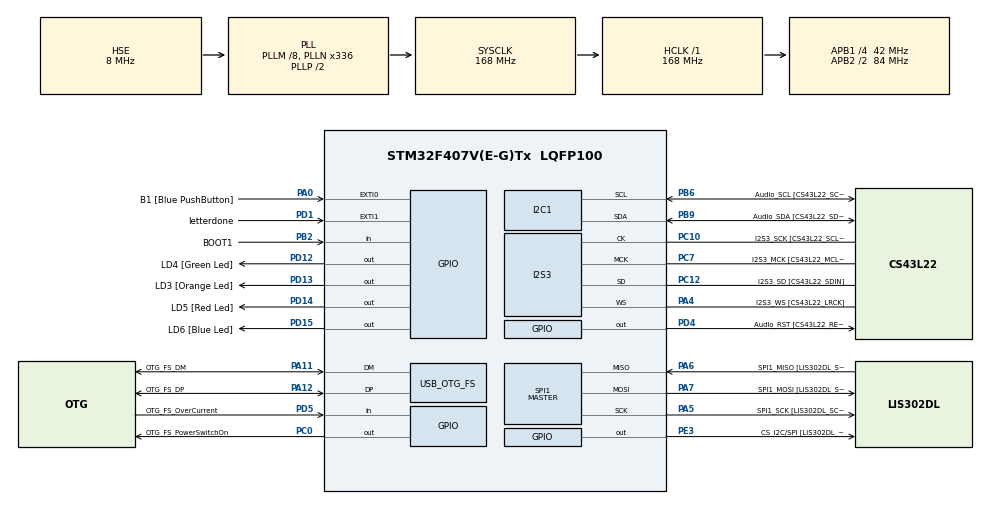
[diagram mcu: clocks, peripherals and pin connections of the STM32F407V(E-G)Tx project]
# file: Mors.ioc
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I2S3.AudioFreq-Half_Duplex_Master=I2S_AUDIOFREQ_96K
I2S3.ErrorAudioFreq=-2.34 %
I2S3.ErrorAudioFreq-Half_Duplex_Master=0.8 %
I2S3.FullDuplexMode=I2S_FULLDUPLEXMODE_DISABLE
I2S3.Instance=SPI$Index
I2S3.RealAudioFreq=93.75 KHz
I2S3.RealAudioFreq-Half_Duplex_Master=96.774 KHz
I2S3.VirtualMode=I2S_MODE_MASTER
Mcu.Family=STM32F4
Mcu.Name=STM32F407V(E-G)Tx
Mcu.Package=LQFP100
NVIC.EXTI0_IRQn=true\:0\:0\:false\:false\:true\:true\:true\:true
NVIC.EXTI1_IRQn=true\:0\:0\:false\:false\:true\:true\:true\:true
NVIC.OTG_FS_IRQn=true\:0\:0\:false\:false\:true\:true\:true\:true
NVIC.PriorityGroup=NVIC_PRIORITYGROUP_0
NVIC.TIM6_DAC_IRQn=true\:0\:0\:false\:false\:true\:true\:true\:true
PA0-WKUP.GPIO_Label=B1 [Blue PushButton]
PA0-WKUP.GPIO_ModeDefaultEXTI=GPIO_MODE_IT_RISING_FALLING
PA0-WKUP.GPIO_PuPd=GPIO_NOPULL
PA0-WKUP.Signal=GPXTI0
PA10.GPIO_Label=OTG_FS_ID
PA10.GPIO_Mode=GPIO_MODE_AF_PP
PA10.GPIO_PuPd=GPIO_NOPULL
PA10.GPIO_Speed=GPIO_SPEED_FREQ_LOW
PA10.Signal=USB_OTG_FS_ID
PA11.GPIO_Label=OTG_FS_DM
PA11.GPIO_Mode=GPIO_MODE_AF_PP
PA11.GPIO_PuPd=GPIO_NOPULL
PA11.GPIO_Speed=GPIO_SPEED_FREQ_LOW
PA11.Mode=Device_Only
PA11.Signal=USB_OTG_FS_DM
PA12.GPIO_Label=OTG_FS_DP
PA12.GPIO_Mode=GPIO_MODE_AF_PP
PA12.GPIO_PuPd=GPIO_NOPULL
PA12.GPIO_Speed=GPIO_SPEED_FREQ_LOW
PA12.Mode=Device_Only
PA12.Signal=USB_OTG_FS_DP
PA13.GPIO_Label=SWDIO
PA13.Mode=Serial_Wire
PA13.Signal=SYS_JTMS-SWDIO
PA14.GPIO_Label=SWCLK
PA14.Mode=Serial_Wire
PA14.Signal=SYS_JTCK-SWCLK
PA4.GPIO_Label=I2S3_WS [CS43L22_LRCK]
PA4.GPIO_Mode=GPIO_MODE_AF_PP
PA4.GPIO_PuPd=GPIO_NOPULL
PA4.GPIO_Speed=GPIO_SPEED_FREQ_LOW
PA4.Mode=Half_Duplex_Master
PA4.Signal=I2S3_WS
PA5.GPIO_Label=SPI1_SCK [LIS302DL_SCL/SPC]
PA5.GPIO_Mode=GPIO_MODE_AF_PP
PA5.GPIO_PuPd=GPIO_NOPULL
PA5.GPIO_Speed=GPIO_SPEED_FREQ_LOW
PA5.Mode=Full_Duplex_Master
PA5.Signal=SPI1_SCK
PA6.GPIO_Label=SPI1_MISO [LIS302DL_SDO]
PA6.GPIO_Mode=GPIO_MODE_AF_PP
PA6.GPIO_PuPd=GPIO_NOPULL
PA6.GPIO_Speed=GPIO_SPEED_FREQ_LOW
PA6.Mode=Full_Duplex_Master
PA6.Signal=SPI1_MISO
PA7.GPIO_Label=SPI1_MOSI [LIS302DL_SDA/SDI/SDO]
PA7.GPIO_Mode=GPIO_MODE_AF_PP
PA7.GPIO_PuPd=GPIO_NOPULL
PA7.GPIO_Speed=GPIO_SPEED_FREQ_LOW
PA7.Mode=Full_Duplex_Master
PA7.Signal=SPI1_MOSI
PA9.GPIO_Label=VBUS_FS
PA9.GPIO_Mode=GPIO_MODE_INPUT
PA9.GPIO_PuPd=GPIO_NOPULL
PA9.Signal=USB_OTG_FS_VBUS
PB10.GPIO_Label=CLK_IN [MP45DT02_CLK]
PB10.GPIO_Mode=GPIO_MODE_AF_PP
PB10.GPIO_PuPd=GPIO_NOPULL
PB10.GPIO_Speed=GPIO_SPEED_FREQ_LOW
PB10.Signal=I2S2_CK
PB2.GPIO_Label=BOOT1
PB2.GPIO_Mode=GPIO_MODE_INPUT
PB2.GPIO_PuPd=GPIO_NOPULL
PB2.Signal=GPIO_Input
PB3.GPIO_Label=SWO
PB3.Signal=SYS_JTDO-SWO
PB6.GPIO_Label=Audio_SCL [CS43L22_SCL]
PB6.GPIO_Mode=GPIO_MODE_AF_OD
PB6.GPIO_Pu=GPIO_PULLUP
PB6.GPIO_PuPd=GPIO_NOPULL
PB6.GPIO_Speed=GPIO_SPEED_FREQ_LOW
PB6.Mode=I2C
PB6.Signal=I2C1_SCL
PB9.GPIO_Label=Audio_SDA [CS43L22_SDA]
PB9.GPIO_Mode=GPIO_MODE_AF_OD
PB9.GPIO_Pu=GPIO_PULLUP
PB9.GPIO_PuPd=GPIO_NOPULL
PB9.GPIO_Speed=GPIO_SPEED_FREQ_LOW
PB9.Mode=I2C
PB9.Signal=I2C1_SDA
PC0.GPIO_Label=OTG_FS_PowerSwitchOn
PC0.GPIO_PuPd=GPIO_NOPULL
PC0.GPIO_Speed=GPIO_SPEED_FREQ_LOW
PC0.PinState=GPIO_PIN_SET
PC0.Signal=GPIO_Output
PC10.GPIO_Label=I2S3_SCK [CS43L22_SCLK]
PC10.GPIO_Mode=GPIO_MODE_AF_PP
PC10.GPIO_PuPd=GPIO_NOPULL
PC10.GPIO_Speed=GPIO_SPEED_FREQ_LOW
PC10.Mode=Half_Duplex_Master
PC10.Signal=I2S3_CK
PC12.GPIO_Label=I2S3_SD [CS43L22_SDIN]
PC12.GPIO_Mode=GPIO_MODE_AF_PP
PC12.GPIO_PuPd=GPIO_NOPULL
PC12.GPIO_Speed=GPIO_SPEED_FREQ_LOW
PC12.Mode=Half_Duplex_Master
PC12.Signal=I2S3_SD
PC14-OSC32_IN.GPIO_Label=PC14-OSC32_IN
PC14-OSC32_IN.Mode=LSE-External-Oscillator
PC14-OSC32_IN.Signal=RCC_OSC32_IN
PC15-OSC32_OUT.GPIO_Label=PC15-OSC32_OUT
PC15-OSC32_OUT.Mode=LSE-External-Oscillator
PC15-OSC32_OUT.Signal=RCC_OSC32_OUT
PC3.GPIO_Label=PDM_OUT [MP45DT02_DOUT]
PC3.GPIO_Mode=GPIO_MODE_AF_PP
PC3.GPIO_PuPd=GPIO_NOPULL
PC3.GPIO_Speed=GPIO_SPEED_FREQ_LOW
PC3.Signal=I2S2_SD
PC7.GPIO_Label=I2S3_MCK [CS43L22_MCLK]
PC7.GPIO_Mode=GPIO_MODE_AF_PP
PC7.GPIO_PuPd=GPIO_NOPULL
PC7.GPIO_Speed=GPIO_SPEED_FREQ_LOW
PC7.Mode=Master_Clock_Activated
PC7.Signal=I2S3_MCK
PD1.GPIO_Label=letterdone
PD1.GPIO_ModeDefaultEXTI=GPIO_MODE_IT_RISING
PD1.Signal=GPXTI1
PD12.GPIO_Label=LD4 [Green Led]
PD12.GPIO_PuPd=GPIO_NOPULL
PD12.GPIO_Speed=GPIO_SPEED_FREQ_LOW
PD12.Signal=GPIO_Output
PD13.GPIO_Label=LD3 [Orange Led]
PD13.GPIO_PuPd=GPIO_NOPULL
PD13.GPIO_Speed=GPIO_SPEED_FREQ_LOW
PD13.Signal=GPIO_Output
PD14.GPIO_Label=LD5 [Red Led]
PD14.GPIO_PuPd=GPIO_NOPULL
PD14.GPIO_Speed=GPIO_SPEED_FREQ_LOW
PD14.Signal=GPIO_Output
PD15.GPIO_Label=LD6 [Blue Led]
PD15.GPIO_PuPd=GPIO_NOPULL
PD15.GPIO_Speed=GPIO_SPEED_FREQ_LOW
PD15.Signal=GPIO_Output
PD4.GPIO_Label=Audio_RST [CS43L22_RESET]
PD4.GPIO_PuPd=GPIO_NOPULL
PD4.GPIO_Speed=GPIO_SPEED_FREQ_LOW
PD4.Signal=GPIO_Output
PD5.GPIO_Label=OTG_FS_OverCurrent
PD5.GPIO_Mode=GPIO_MODE_INPUT
PD5.GPIO_PuPd=GPIO_NOPULL
PD5.Signal=GPIO_Input
PE3.GPIO_Label=CS_I2C/SPI [LIS302DL_CS_I2C/SPI]
PE3.GPIO_PuPd=GPIO_NOPULL
PE3.GPIO_Speed=GPIO_SPEED_FREQ_LOW
PE3.Signal=GPIO_Output
PH0-OSC_IN.GPIO_Label=PH0-OSC_IN
PH0-OSC_IN.Mode=HSE-External-Oscillator
PH0-OSC_IN.Signal=RCC_OSC_IN
PH1-OSC_OUT.GPIO_Label=PH1-OSC_OUT
PH1-OSC_OUT.Mode=HSE-External-Oscillator
PH1-OSC_OUT.Signal=RCC_OSC_OUT
ProjectManager.HeapSize=0x200
ProjectManager.StackSize=0x400
ProjectManager.TargetToolchain=STM32CubeIDE
RCC.48MHZClocksFreq_Value=48000000
RCC.AHBFreq_Value=168000000
RCC.APB1CLKDivider=RCC_HCLK_DIV4
RCC.APB1Freq_Value=42000000
RCC.APB1TimFreq_Value=84000000
RCC.APB2CLKDivider=RCC_HCLK_DIV2
RCC.APB2Freq_Value=84000000
RCC.APB2TimFreq_Value=168000000
RCC.CortexFreq_Value=168000000
RCC.HCLKFreq_Value=168000000
RCC.HSE_VALUE=8000000
RCC.HSI_VALUE=16000000
RCC.PLLM=8
RCC.PLLN=336
RCC.PLLQ=7
RCC.SYSCLKFreq_VALUE=168000000
RCC.SYSCLKSource=RCC_SYSCLKSOURCE_PLLCLK
RCC.VCOOutputFreq_Value=336000000
SPI1.BaudRatePrescaler-Full_Duplex_Master=SPI_BAUDRATEPRESCALER_2
SPI1.CalculateBaudRate-Full_Duplex_Master=42.0 MBits/s
SPI1.Direction=SPI_DIRECTION_2LINES
SPI1.Mode=SPI_MODE_MASTER
SPI1.Mode-Full_Duplex_Master=SPI_MODE_MASTER
SPI1.VirtualType=VM_MASTER
TIM6.Period=500
TIM6.Prescaler=48000
TIM7.Period=17500
TIM7.Prescaler=47999
USB_DEVICE.CLASS_NAME_FS=CDC
USB_DEVICE.VirtualMode-CDC_FS=Cdc
USB_DEVICE.VirtualModeFS=Cdc_FS
USB_OTG_FS.VirtualMode=Device_Only
VP_TIM6_VS_ClockSourceINT.Mode=Enable_Timer
VP_TIM7_VS_ClockSourceINT.Mode=Enable_Timer
VP_USB_DEVICE_VS_USB_DEVICE_CDC_FS.Mode=CDC_FS
board=STM32F407G-DISC1

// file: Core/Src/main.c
/* USER CODE BEGIN Header */
/**
  ******************************************************************************
  * @file           : main.c
  * @brief          : Main program body
  ******************************************************************************
  * @attention
  *
  * Copyright (c) 2022 STMicroelectronics.
  * All rights reserved.
  *
  * This software is licensed under terms that can be found in the LICENSE file
  * in the root directory of this software component.
  * If no LICENSE file comes with this software, it is provided AS-IS.
  *
  ******************************************************************************
  */
/* USER CODE END Header */
#include "main.h"
#include "usb_device.h"

/* USER CODE BEGIN Includes */
#include "usbd_cdc_if.h"
#include <string.h>
/* USER CODE END Includes */

/* USER CODE BEGIN PD */
#define dot '.'
#define dash '_'
/* USER CODE END PD */

I2C_HandleTypeDef hi2c1;

I2S_HandleTypeDef hi2s3;

SPI_HandleTypeDef hspi1;

TIM_HandleTypeDef htim6;
TIM_HandleTypeDef htim7;

/* USER CODE BEGIN PV */
char *morscode[]={"._","_...","_._.","_..",".",".._.","__.","....","..",".___","_._","._..","__","_.","___",".__.","__._","._.","...","_",".._","..._",".__","_.._","_.__","__..",".____","..___","...__","...._",".....","_....","__...","___..","____.","_____"};
char *symbols[]={"A","B","C","D","E","F","G","H","I","J","K","L","M","N","O","P","Q","R","S","T","U","V","W","X","Y","Z","1","2","3","4","5","6","7","8","9","0"};
char coded[6], coded_save[6];
char *decoded[1];
uint32_t press_time;
int press,bounce,done;
/* USER CODE END PV */

void SystemClock_Config(void);
static void MX_GPIO_Init(void);
static void MX_I2C1_Init(void);
static void MX_I2S3_Init(void);
static void MX_SPI1_Init(void);
static void MX_TIM6_Init(void);
static void MX_TIM7_Init(void);

/* USER CODE BEGIN 0 */
void decoder()
{
	if(coded[0]!='\0')
		strcpy(coded_save,coded);
	for(int i=0;i<36;i++)
	{
		if(!strcmp(coded,morscode[i]))
		{
			decoded[0]=symbols[i];
		}
	}
}
void mors(uint32_t timer)
{
	if(timer < 700)
	{
		HAL_GPIO_WritePin(GPIOD, LD6_Pin,1);
		HAL_GPIO_WritePin(GPIOD, LD5_Pin,0);
		coded[press]=dot;
		press++;
	}
	else
	{
		HAL_GPIO_WritePin(GPIOD, LD6_Pin,0);
		HAL_GPIO_WritePin(GPIOD, LD5_Pin,1);
		coded[press]=dash;
		press++;
	}
}
void mors_blink()
{
	if(done||press==5)
	{
		if(press==5)
			done=1;
		CDC_Transmit_FS((uint8_t*)*decoded, strlen(*decoded));
		press=0;
		for(int i=0;i<4;i++)
			coded[i]='\0';
		HAL_GPIO_WritePin(GPIOD, LD5_Pin,0);
		HAL_GPIO_WritePin(GPIOD, LD6_Pin,0);
		for(int i=0;i<5;i++)
		{
			switch(coded_save[i])
			{
			  	case dot:
		  	  			HAL_GPIO_WritePin(GPIOD, LD3_Pin, 1);
		  	  			HAL_Delay(500);
			  	  		HAL_GPIO_WritePin(GPIOD, LD3_Pin, 0);
			  	  		HAL_Delay(500);
			  	  		break;
			  	 case dash:
						  HAL_GPIO_WritePin(GPIOD, LD3_Pin, 1);
						  HAL_Delay(1500);
					      HAL_GPIO_WritePin(GPIOD, LD3_Pin, 0);
						  HAL_Delay(1500);
						  break;
			  	 default:
			  	  		 break;
			}
		}
		HAL_Delay(500);
	}
}

/* USER CODE END 0 */

int main(void)
{
  /* USER CODE BEGIN 1 */
	press=0;
  /* USER CODE END 1 */

  /* MCU Configuration--------------------------------------------------------*/

  /* Reset of all peripherals, Initializes the Flash interface and the Systick. */
  HAL_Init();

  /* Configure the system clock */
  SystemClock_Config();

  /* Initialize all configured peripherals */
  MX_GPIO_Init();
  MX_I2C1_Init();
  MX_I2S3_Init();
  MX_SPI1_Init();
  MX_USB_DEVICE_Init();
  MX_TIM6_Init();
  MX_TIM7_Init();
  /* USER CODE BEGIN 2 */
  HAL_TIM_Base_Start(&htim7);
  /* USER CODE END 2 */

  /* Infinite loop */
  while (1)
  {
	  mors_blink();
  }
}

void SystemClock_Config(void)
{
  RCC_OscInitTypeDef RCC_OscInitStruct = {0};
  RCC_ClkInitTypeDef RCC_ClkInitStruct = {0};

  /** Configure the main internal regulator output voltage
  */
  __HAL_RCC_PWR_CLK_ENABLE();
  __HAL_PWR_VOLTAGESCALING_CONFIG(PWR_REGULATOR_VOLTAGE_SCALE1);

  /** Initializes the RCC Oscillators according to the specified parameters
  * in the RCC_OscInitTypeDef structure.
  */
  RCC_OscInitStruct.OscillatorType = RCC_OSCILLATORTYPE_HSE;
  RCC_OscInitStruct.HSEState = RCC_HSE_ON;
  RCC_OscInitStruct.PLL.PLLState = RCC_PLL_ON;
  RCC_OscInitStruct.PLL.PLLSource = RCC_PLLSOURCE_HSE;
  RCC_OscInitStruct.PLL.PLLM = 8;
  RCC_OscInitStruct.PLL.PLLN = 336;
  RCC_OscInitStruct.PLL.PLLP = RCC_PLLP_DIV2;
  RCC_OscInitStruct.PLL.PLLQ = 7;
  if (HAL_RCC_OscConfig(&RCC_OscInitStruct) != HAL_OK)
  {
    Error_Handler();
  }

  /** Initializes the CPU, AHB and APB buses clocks
  */
  RCC_ClkInitStruct.ClockType = RCC_CLOCKTYPE_HCLK|RCC_CLOCKTYPE_SYSCLK
                              |RCC_CLOCKTYPE_PCLK1|RCC_CLOCKTYPE_PCLK2;
  RCC_ClkInitStruct.SYSCLKSource = RCC_SYSCLKSOURCE_PLLCLK;
  RCC_ClkInitStruct.AHBCLKDivider = RCC_SYSCLK_DIV1;
  RCC_ClkInitStruct.APB1CLKDivider = RCC_HCLK_DIV4;
  RCC_ClkInitStruct.APB2CLKDivider = RCC_HCLK_DIV2;

  if (HAL_RCC_ClockConfig(&RCC_ClkInitStruct, FLASH_LATENCY_5) != HAL_OK)
  {
    Error_Handler();
  }
}

static void MX_I2C1_Init(void)
{

  hi2c1.Instance = I2C1;
  hi2c1.Init.ClockSpeed = 100000;
  hi2c1.Init.DutyCycle = I2C_DUTYCYCLE_2;
  hi2c1.Init.OwnAddress1 = 0;
  hi2c1.Init.AddressingMode = I2C_ADDRESSINGMODE_7BIT;
  hi2c1.Init.DualAddressMode = I2C_DUALADDRESS_DISABLE;
  hi2c1.Init.OwnAddress2 = 0;
  hi2c1.Init.GeneralCallMode = I2C_GENERALCALL_DISABLE;
  hi2c1.Init.NoStretchMode = I2C_NOSTRETCH_DISABLE;
  if (HAL_I2C_Init(&hi2c1) != HAL_OK)
  {
    Error_Handler();
  }

}

static void MX_I2S3_Init(void)
{

  hi2s3.Instance = SPI3;
  hi2s3.Init.Mode = I2S_MODE_MASTER_TX;
  hi2s3.Init.Standard = I2S_STANDARD_PHILIPS;
  hi2s3.Init.DataFormat = I2S_DATAFORMAT_16B;
  hi2s3.Init.MCLKOutput = I2S_MCLKOUTPUT_ENABLE;
  hi2s3.Init.AudioFreq = I2S_AUDIOFREQ_96K;
  hi2s3.Init.CPOL = I2S_CPOL_LOW;
  hi2s3.Init.ClockSource = I2S_CLOCK_PLL;
  hi2s3.Init.FullDuplexMode = I2S_FULLDUPLEXMODE_DISABLE;
  if (HAL_I2S_Init(&hi2s3) != HAL_OK)
  {
    Error_Handler();
  }

}

static void MX_SPI1_Init(void)
{

  /* SPI1 parameter configuration*/
  hspi1.Instance = SPI1;
  hspi1.Init.Mode = SPI_MODE_MASTER;
  hspi1.Init.Direction = SPI_DIRECTION_2LINES;
  hspi1.Init.DataSize = SPI_DATASIZE_8BIT;
  hspi1.Init.CLKPolarity = SPI_POLARITY_LOW;
  hspi1.Init.CLKPhase = SPI_PHASE_1EDGE;
  hspi1.Init.NSS = SPI_NSS_SOFT;
  hspi1.Init.BaudRatePrescaler = SPI_BAUDRATEPRESCALER_2;
  hspi1.Init.FirstBit = SPI_FIRSTBIT_MSB;
  hspi1.Init.TIMode = SPI_TIMODE_DISABLE;
  hspi1.Init.CRCCalculation = SPI_CRCCALCULATION_DISABLE;
  hspi1.Init.CRCPolynomial = 10;
  if (HAL_SPI_Init(&hspi1) != HAL_OK)
  {
    Error_Handler();
  }

}

static void MX_TIM6_Init(void)
{

  TIM_MasterConfigTypeDef sMasterConfig = {0};

  htim6.Instance = TIM6;
  htim6.Init.Prescaler = 48000;
  htim6.Init.CounterMode = TIM_COUNTERMODE_UP;
  htim6.Init.Period = 500;
  htim6.Init.AutoReloadPreload = TIM_AUTORELOAD_PRELOAD_DISABLE;
  if (HAL_TIM_Base_Init(&htim6) != HAL_OK)
  {
    Error_Handler();
  }
  sMasterConfig.MasterOutputTrigger = TIM_TRGO_RESET;
  sMasterConfig.MasterSlaveMode = TIM_MASTERSLAVEMODE_DISABLE;
  if (HAL_TIMEx_MasterConfigSynchronization(&htim6, &sMasterConfig) != HAL_OK)
  {
    Error_Handler();
  }

}

static void MX_TIM7_Init(void)
{

  TIM_MasterConfigTypeDef sMasterConfig = {0};

  htim7.Instance = TIM7;
  htim7.Init.Prescaler = 47999;
  htim7.Init.CounterMode = TIM_COUNTERMODE_UP;
  htim7.Init.Period = 17500;
  htim7.Init.AutoReloadPreload = TIM_AUTORELOAD_PRELOAD_DISABLE;
  if (HAL_TIM_Base_Init(&htim7) != HAL_OK)
  {
    Error_Handler();
  }
  sMasterConfig.MasterOutputTrigger = TIM_TRGO_RESET;
  sMasterConfig.MasterSlaveMode = TIM_MASTERSLAVEMODE_DISABLE;
  if (HAL_TIMEx_MasterConfigSynchronization(&htim7, &sMasterConfig) != HAL_OK)
  {
    Error_Handler();
  }

}

static void MX_GPIO_Init(void)
{
  GPIO_InitTypeDef GPIO_InitStruct = {0};

  /* GPIO Ports Clock Enable */
  __HAL_RCC_GPIOE_CLK_ENABLE();
  __HAL_RCC_GPIOC_CLK_ENABLE();
  __HAL_RCC_GPIOH_CLK_ENABLE();
  __HAL_RCC_GPIOA_CLK_ENABLE();
  __HAL_RCC_GPIOB_CLK_ENABLE();
  __HAL_RCC_GPIOD_CLK_ENABLE();

  /*Configure GPIO pin Output Level */
  HAL_GPIO_WritePin(CS_I2C_SPI_GPIO_Port, CS_I2C_SPI_Pin, GPIO_PIN_RESET);

  /*Configure GPIO pin Output Level */
  HAL_GPIO_WritePin(OTG_FS_PowerSwitchOn_GPIO_Port, OTG_FS_PowerSwitchOn_Pin, GPIO_PIN_SET);

  /*Configure GPIO pin Output Level */
  HAL_GPIO_WritePin(GPIOD, LD4_Pin|LD3_Pin|LD5_Pin|LD6_Pin
                          |Audio_RST_Pin, GPIO_PIN_RESET);

  /*Configure GPIO pin : CS_I2C_SPI_Pin */
  GPIO_InitStruct.Pin = CS_I2C_SPI_Pin;
  GPIO_InitStruct.Mode = GPIO_MODE_OUTPUT_PP;
  GPIO_InitStruct.Pull = GPIO_NOPULL;
  GPIO_InitStruct.Speed = GPIO_SPEED_FREQ_LOW;
  HAL_GPIO_Init(CS_I2C_SPI_GPIO_Port, &GPIO_InitStruct);

  /*Configure GPIO pin : OTG_FS_PowerSwitchOn_Pin */
  GPIO_InitStruct.Pin = OTG_FS_PowerSwitchOn_Pin;
  GPIO_InitStruct.Mode = GPIO_MODE_OUTPUT_PP;
  GPIO_InitStruct.Pull = GPIO_NOPULL;
  GPIO_InitStruct.Speed = GPIO_SPEED_FREQ_LOW;
  HAL_GPIO_Init(OTG_FS_PowerSwitchOn_GPIO_Port, &GPIO_InitStruct);

  /*Configure GPIO pin : PDM_OUT_Pin */
  GPIO_InitStruct.Pin = PDM_OUT_Pin;
  GPIO_InitStruct.Mode = GPIO_MODE_AF_PP;
  GPIO_InitStruct.Pull = GPIO_NOPULL;
  GPIO_InitStruct.Speed = GPIO_SPEED_FREQ_LOW;
  GPIO_InitStruct.Alternate = GPIO_AF5_SPI2;
  HAL_GPIO_Init(PDM_OUT_GPIO_Port, &GPIO_InitStruct);

  /*Configure GPIO pin : B1_Pin */
  GPIO_InitStruct.Pin = B1_Pin;
  GPIO_InitStruct.Mode = GPIO_MODE_IT_RISING_FALLING;
  GPIO_InitStruct.Pull = GPIO_NOPULL;
  HAL_GPIO_Init(B1_GPIO_Port, &GPIO_InitStruct);

  /*Configure GPIO pin : BOOT1_Pin */
  GPIO_InitStruct.Pin = BOOT1_Pin;
  GPIO_InitStruct.Mode = GPIO_MODE_INPUT;
  GPIO_InitStruct.Pull = GPIO_NOPULL;
  HAL_GPIO_Init(BOOT1_GPIO_Port, &GPIO_InitStruct);

  /*Configure GPIO pin : CLK_IN_Pin */
  GPIO_InitStruct.Pin = CLK_IN_Pin;
  GPIO_InitStruct.Mode = GPIO_MODE_AF_PP;
  GPIO_InitStruct.Pull = GPIO_NOPULL;
  GPIO_InitStruct.Speed = GPIO_SPEED_FREQ_LOW;
  GPIO_InitStruct.Alternate = GPIO_AF5_SPI2;
  HAL_GPIO_Init(CLK_IN_GPIO_Port, &GPIO_InitStruct);

  /*Configure GPIO pins : LD4_Pin LD3_Pin LD5_Pin LD6_Pin
                           Audio_RST_Pin */
  GPIO_InitStruct.Pin = LD4_Pin|LD3_Pin|LD5_Pin|LD6_Pin
                          |Audio_RST_Pin;
  GPIO_InitStruct.Mode = GPIO_MODE_OUTPUT_PP;
  GPIO_InitStruct.Pull = GPIO_NOPULL;
  GPIO_InitStruct.Speed = GPIO_SPEED_FREQ_LOW;
  HAL_GPIO_Init(GPIOD, &GPIO_InitStruct);

  /*Configure GPIO pin : letterdone_Pin */
  GPIO_InitStruct.Pin = letterdone_Pin;
  GPIO_InitStruct.Mode = GPIO_MODE_IT_RISING;
  GPIO_InitStruct.Pull = GPIO_NOPULL;
  HAL_GPIO_Init(letterdone_GPIO_Port, &GPIO_InitStruct);

  /*Configure GPIO pin : OTG_FS_OverCurrent_Pin */
  GPIO_InitStruct.Pin = OTG_FS_OverCurrent_Pin;
  GPIO_InitStruct.Mode = GPIO_MODE_INPUT;
  GPIO_InitStruct.Pull = GPIO_NOPULL;
  HAL_GPIO_Init(OTG_FS_OverCurrent_GPIO_Port, &GPIO_InitStruct);

  /* EXTI interrupt init*/
  HAL_NVIC_SetPriority(EXTI0_IRQn, 0, 0);
  HAL_NVIC_EnableIRQ(EXTI0_IRQn);

  HAL_NVIC_SetPriority(EXTI1_IRQn, 0, 0);
  HAL_NVIC_EnableIRQ(EXTI1_IRQn);

}

/* USER CODE BEGIN 4 */
void HAL_GPIO_EXTI_Callback(uint16_t GPIO_Pin)
{
	HAL_TIM_Base_Start_IT(&htim6);
	if(GPIO_Pin==B1_Pin)
	{
		if(HAL_GPIO_ReadPin(GPIOA, B1_Pin))
		{//rising edge
			HAL_NVIC_DisableIRQ(EXTI0_IRQn);
			done=0;
			bounce=1;
			TIM7->CNT=0;
			TIM6->CNT=0;
			HAL_GPIO_WritePin(GPIOD, LD4_Pin,1);
		}
		else
		{//falling edge
			press_time=TIM7->CNT;
	        HAL_GPIO_WritePin(GPIOD, LD4_Pin,0);
	        if(press<5)
	        	mors(press_time);
	        decoder();
			TIM7->CNT=0;
		}
	}
	if(GPIO_Pin==letterdone_Pin)
	{
		done=1;
		decoder();
	}
}
void HAL_TIM_PeriodElapsedCallback(TIM_HandleTypeDef *htim)
{
	if (bounce)
	{
		HAL_NVIC_EnableIRQ(EXTI0_IRQn);
		bounce=0;
	}
}

/* USER CODE END 4 */

void Error_Handler(void)
{
  __disable_irq();
  while (1)
  {
  }
}
